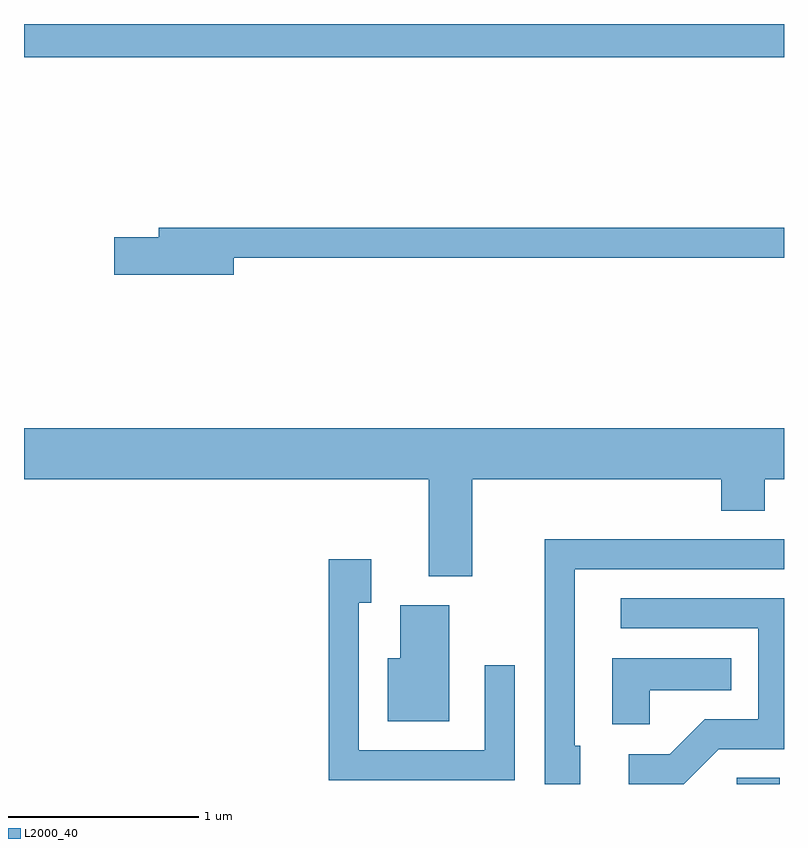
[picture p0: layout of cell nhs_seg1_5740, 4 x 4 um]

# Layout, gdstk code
import gdstk
lib = gdstk.Library(unit=1e-6, precision=1e-09)
def R(c, l, rs):  # rectangles x0, y0, x1, y1
    for r in rs: c.add(gdstk.rectangle(r[:2], r[2:], *l))
def P(c, l, *ps):  # polygons
    for p in ps: c.add(gdstk.Polygon(p, *l))
L2000_40 = (2000, 40)

nhs_seg1_5740 = lib.new_cell('nhs_seg1_5740')
R(nhs_seg1_5740, L2000_40, [(361.361,935.712,361.589,935.744), (357.611,939.536,361.611,939.712)])
P(nhs_seg1_5740, L2000_40, [(358.714,938.481),(361.611,938.481),(361.611,938.639),(358.321,938.639),(358.321,938.589),(358.086,938.589),(358.086,938.391),(358.714,938.391)],
  [(359.969,937.316),(361.281,937.316),(361.281,937.151),(361.509,937.151),(361.509,937.316),(361.611,937.316),(361.611,937.584),(357.611,937.584),(357.611,937.316),(359.741,937.316),(359.741,936.806),(359.969,936.806)],
  [(360.539,935.914),(360.509,935.914),(360.509,936.841),(361.611,936.841),(361.611,936.999),(360.351,936.999),(360.351,935.712),(360.539,935.712)],
  [(360.194,936.338),(360.036,936.338),(360.036,935.889),(359.374,935.889),(359.374,936.666),(359.439,936.666),(359.439,936.894),(359.216,936.894),(359.216,935.731),(360.194,935.731)],
  [(361.267,935.896),(361.611,935.896),(361.611,936.689),(360.753,936.689),(360.753,936.531),(361.476,936.531),(361.476,936.054),(361.194,936.054),(361.009,935.869),(360.793,935.869),(360.793,935.712),(361.083,935.712)],
  [(359.849,936.654),(359.591,936.654),(359.591,936.374),(359.526,936.374),(359.526,936.041),(359.849,936.041)],
  [(360.904,936.206),(361.333,936.206),(361.333,936.374),(360.706,936.374),(360.706,936.026),(360.904,936.026)])

lib.write_gds('nhs_seg1_5740.gds')
